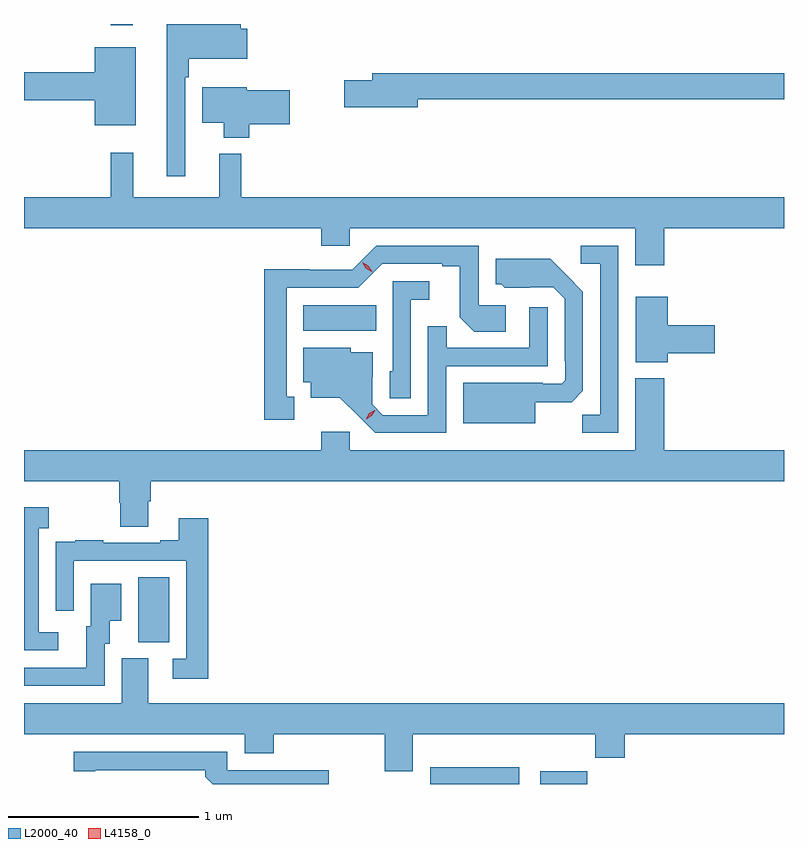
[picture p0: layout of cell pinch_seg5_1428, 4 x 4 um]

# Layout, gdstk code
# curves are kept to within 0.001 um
import gdstk
lib = gdstk.Library(unit=1e-6, precision=1e-09)
def R(c, l, rs):  # rectangles x0, y0, x1, y1
    for r in rs: c.add(gdstk.rectangle(r[:2], r[2:], *l))
def P(c, l, *ps):  # polygons
    for p in ps: c.add(gdstk.Polygon(p, *l))
L2000_40 = (2000, 40)
L4158_0 = (4158, 0)

pinch_seg5_1428 = lib.new_cell('pinch_seg5_1428')
R(pinch_seg5_1428, L2000_40, [(162.458,891.131,162.928,891.22), (163.037,891.131,163.286,891.199), (160.922,891.877,161.086,892.22), (161.792,893.516,162.176,893.65), (160.777,895.125,160.894,895.131)])
P(pinch_seg5_1428, L2000_40, [(161.169,894.851),(161.189,894.851),(161.189,894.947),(161.497,894.947),(161.497,895.105),(161.462,895.105),(161.462,895.131),(161.072,895.131),(161.072,894.33),(161.169,894.33)],
  [(160.909,895.009),(160.694,895.009),(160.694,894.878),(160.321,894.878),(160.321,894.731),(160.694,894.731),(160.694,894.599),(160.909,894.599)],
  [(162.394,894.736),(164.321,894.736),(164.321,894.872),(162.155,894.872),(162.155,894.836),(162.006,894.836),(162.006,894.694),(162.394,894.694)],
  [(161.507,894.604),(161.719,894.604),(161.719,894.782),(161.494,894.782),(161.494,894.799),(161.258,894.799),(161.258,894.611),(161.372,894.611),(161.372,894.533),(161.507,894.533)],
  [(163.691,894.056),(164.321,894.056),(164.321,894.22),(161.465,894.22),(161.465,894.448),(161.348,894.448),(161.348,894.22),(160.895,894.22),(160.895,894.454),(160.777,894.454),(160.777,894.22),(160.321,894.22),(160.321,894.056),(161.885,894.056),(161.885,893.963),(162.036,893.963),(162.036,894.056),(163.538,894.056),(163.538,893.862),(163.691,893.862)],
  [(161.743,893.169),(161.704,893.169),(161.704,893.742),(162.081,893.742),(162.207,893.868),(162.521,893.868),(162.521,893.856),(162.615,893.856),(162.615,893.588),(162.691,893.512),(162.856,893.512),(162.856,893.652),(162.714,893.652),(162.714,893.964),(162.174,893.964),(162.048,893.838),(161.826,893.838),(161.826,893.84),(161.586,893.84),(161.586,893.049),(161.743,893.049)],
  [(163.449,893.964),(163.251,893.964),(163.251,893.868),(163.353,893.868),(163.353,893.075),(163.258,893.075),(163.258,892.98),(163.449,892.98)],
  [(163.012,893.141),(163.204,893.141),(163.263,893.2),(163.263,893.722),(163.091,893.896),(162.803,893.896),(162.803,893.76),(162.834,893.76),(162.85,893.744),(163.107,893.745),(163.167,893.685),(163.167,893.356),(163.17,893.356),(163.17,893.256),(163.152,893.238),(163.052,893.238),(163.052,893.242),(162.632,893.242),(162.632,893.03),(163.012,893.03)],
  [(162.357,893.681),(162.454,893.681),(162.454,893.778),(162.261,893.778),(162.261,893.304),(162.246,893.304),(162.246,893.161),(162.357,893.161)],
  [(163.708,893.399),(163.957,893.399),(163.957,893.546),(163.708,893.546),(163.708,893.695),(163.541,893.695),(163.541,893.351),(163.708,893.351)],
  [(162.543,893.331),(163.077,893.331),(163.077,893.641),(162.981,893.641),(162.981,893.427),(162.545,893.427),(162.545,893.54),(162.447,893.54),(162.447,893.073),(162.21,893.073),(162.153,893.13),(162.153,893.272),(162.157,893.272),(162.157,893.404),(162.042,893.404),(162.042,893.428),(161.792,893.428),(161.792,893.246),(161.831,893.246),(161.831,893.165),(161.983,893.165),(162.17,892.98),(162.543,892.98)],
  [(160.975,892.618),(160.988,892.618),(160.988,892.724),(164.321,892.724),(164.321,892.888),(163.691,892.888),(163.691,893.266),(163.538,893.266),(163.538,892.888),(162.036,892.888),(162.036,892.984),(161.885,892.984),(161.885,892.888),(160.321,892.888),(160.321,892.724),(160.823,892.724),(160.823,892.611),(160.828,892.611),(160.828,892.486),(160.975,892.486)],
  [(160.501,891.93),(160.398,891.93),(160.398,892.478),(160.45,892.478),(160.45,892.588),(160.321,892.588),(160.321,891.834),(160.501,891.834)],
  [(161.291,892.531),(161.135,892.531),(161.135,892.414),(161.039,892.414),(161.039,892.401),(160.739,892.401),(160.739,892.414),(160.591,892.414),(160.591,892.407),(160.489,892.407),(160.489,892.298),(160.488,892.298),(160.488,892.044),(160.584,892.044),(160.584,892.305),(161.175,892.305),(161.175,891.789),(161.103,891.789),(161.103,891.684),(161.291,891.684)],
  [(160.746,891.87),(160.771,891.87),(160.771,891.989),(160.834,891.989),(160.834,892.186),(160.673,892.186),(160.673,891.96),(160.649,891.96),(160.649,891.744),(160.321,891.744),(160.321,891.648),(160.746,891.648)],
  [(162.367,891.392),(163.327,891.392),(163.327,891.268),(163.484,891.268),(163.484,891.392),(164.321,891.392),(164.321,891.556),(160.975,891.556),(160.975,891.792),(160.835,891.792),(160.835,891.556),(160.321,891.556),(160.321,891.392),(161.483,891.392),(161.483,891.293),(161.636,891.293),(161.636,891.392),(162.22,891.392),(162.22,891.198),(162.367,891.198)],
  [(161.926,891.204),(161.391,891.204),(161.391,891.3),(160.584,891.3),(160.584,891.199),(160.696,891.199),(160.696,891.204),(161.276,891.204),(161.276,891.17),(161.314,891.131),(161.926,891.131)])
P(pinch_seg5_1428, L4158_0, [(162.121,893.052),(162.121,893.053),(162.138,893.082),(162.168,893.098),(162.169,893.098),(162.169,893.098),(162.152,893.068),(162.121,893.052)],
  [(162.152,893.827),(162.12,893.845),(162.102,893.877),(162.102,893.878),(162.102,893.878),(162.134,893.859),(162.153,893.827),(162.153,893.827)])

lib.write_gds('pinch_seg5_1428.gds')
